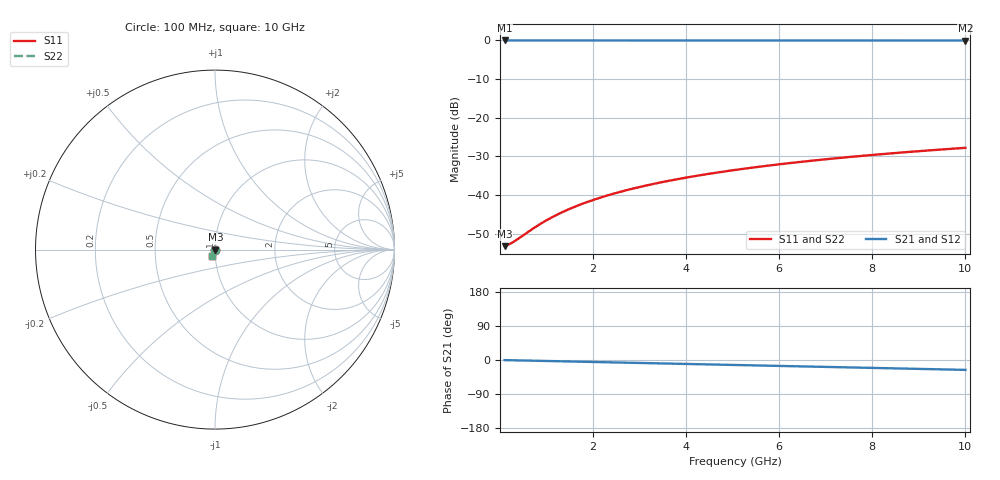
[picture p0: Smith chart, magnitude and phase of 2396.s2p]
# Hz S RI R 50.00
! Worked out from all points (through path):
!   100 points, 100 MHz to 10 GHz, reference 50 ohm
!   highest |S21| = -0.02 dB at 100 MHz (marker M1); lowest = 0.0 dB at 10 GHz (marker M2)
!   group delay of S21, straight-line fit = 7.25 ps
!   lowest |S11| = -53.2 dB at 100 MHz (marker M3), VSWR 1.00, Z = 50.2 - j0.043 ohm
!   |S11| at or under -10 dB: start of sweep to end of sweep
!   |S22| runs from -53.2 to -27.8 dB; largest |S21 - S12| = 0
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1e8  0.00215 -0.000428  0.9978 -0.00453  0.9978 -0.00453  0.00215 -0.000428
2e8  0.00215 -0.000856  0.9978 -0.00906  0.9978 -0.00906  0.00215 -0.000856
3e8  0.00215 -0.00128  0.9977 -0.0136  0.9977 -0.0136  0.00215 -0.00128
8e8  0.00207 -0.00342  0.9971 -0.0362  0.9971 -0.0362  0.00207 -0.00342
9e8  0.00204 -0.00385  0.9969 -0.0408  0.9969 -0.0408  0.00204 -0.00385
1.1e9  0.00196 -0.0047  0.9965 -0.0498  0.9965 -0.0498  0.00196 -0.0047
1.4e9  0.00183 -0.00598  0.9957 -0.0634  0.9957 -0.0634  0.00183 -0.00598
1.6e9  0.00171 -0.00683  0.9951 -0.0724  0.9951 -0.0724  0.00171 -0.00683
1.8e9  0.00159 -0.00768  0.9943 -0.0815  0.9943 -0.0815  0.00159 -0.00768
2.1e9  0.00136 -0.00895  0.9931 -0.095  0.9931 -0.095  0.00136 -0.00895
2.5e9  0.00101 -0.0106  0.9912 -0.113  0.9912 -0.113  0.00101 -0.0106
2.9e9  0.000603 -0.0123  0.9889 -0.131  0.9889 -0.131  0.000603 -0.0123
3.4e9  3.99e-06 -0.0144  0.9856 -0.1535  0.9856 -0.1535  3.99e-06 -0.0144
3.8e9  -0.000543 -0.016  0.9826 -0.1713  0.9826 -0.1713  -0.000543 -0.016
4.2e9  -0.00115 -0.0176  0.9793 -0.1892  0.9793 -0.1892  -0.00115 -0.0176
4.6e9  -0.00181 -0.0192  0.9757 -0.207  0.9757 -0.207  -0.00181 -0.0192
5.1e9  -0.00272 -0.0212  0.9706 -0.2291  0.9706 -0.2291  -0.00272 -0.0212
5.9e9  -0.00436 -0.0242  0.9615 -0.2643  0.9615 -0.2643  -0.00436 -0.0242
6.7e9  -0.00622 -0.0271  0.9511 -0.2991  0.9511 -0.2991  -0.00622 -0.0271
7.5e9  -0.00829 -0.0299  0.9395 -0.3335  0.9395 -0.3335  -0.00829 -0.0299
8.4e9  -0.0109 -0.0329  0.9248 -0.3717  0.9248 -0.3717  -0.0109 -0.0329
1e10  -0.016 -0.0376  0.8949 -0.4381  0.8949 -0.4381  -0.016 -0.0376
